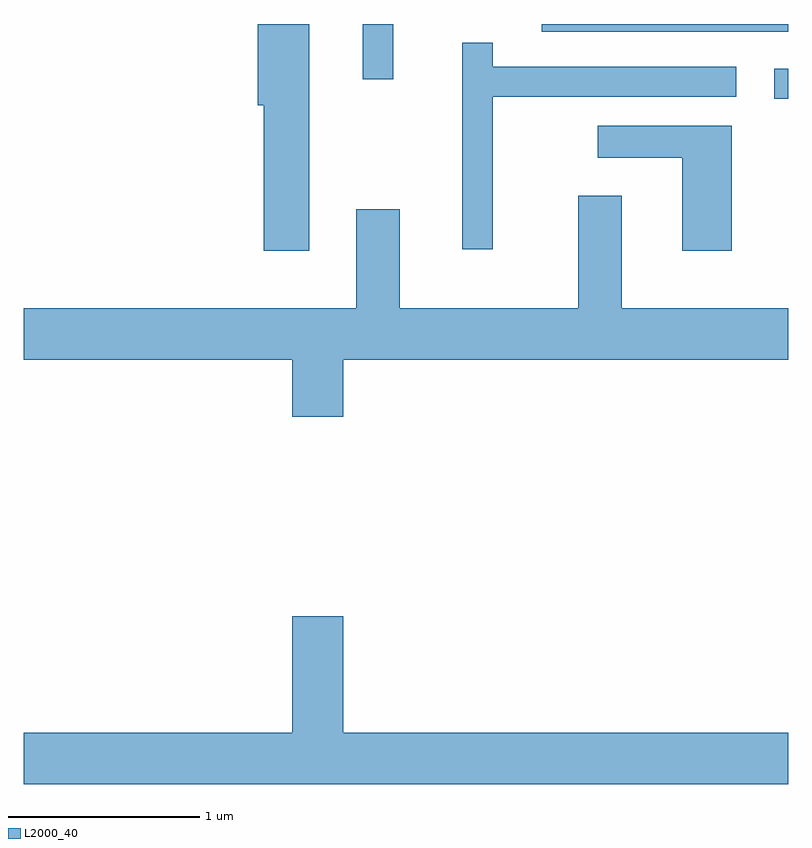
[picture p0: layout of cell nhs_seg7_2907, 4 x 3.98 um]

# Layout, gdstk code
import gdstk
lib = gdstk.Library(unit=1e-6, precision=1e-09)
def R(c, l, rs):  # rectangles x0, y0, x1, y1
    for r in rs: c.add(gdstk.rectangle(r[:2], r[2:], *l))
def P(c, l, *ps):  # polygons
    for p in ps: c.add(gdstk.Polygon(p, *l))
L2000_40 = (2000, 40)

nhs_seg7_2907 = lib.new_cell('nhs_seg7_2907')
R(nhs_seg7_2907, L2000_40, [(277.538,1757.861,277.611,1758.019), (275.386,1757.963,275.544,1758.252), (276.321,1758.211,277.611,1758.252)])
P(nhs_seg7_2907, L2000_40, [(275.104,1758.252),(274.836,1758.252),(274.836,1757.826),(274.866,1757.826),(274.866,1757.066),(275.104,1757.066)],
  [(276.064,1757.871),(277.338,1757.871),(277.338,1758.029),(276.064,1758.029),(276.064,1758.153),(275.906,1758.153),(275.906,1757.073),(276.064,1757.073)],
  [(277.314,1757.719),(276.613,1757.719),(276.613,1757.551),(277.056,1757.551),(277.056,1757.066),(277.314,1757.066)],
  [(275.284,1756.496),(277.611,1756.496),(277.611,1756.764),(276.739,1756.764),(276.739,1757.354),(276.511,1757.354),(276.511,1756.764),(275.579,1756.764),(275.579,1757.284),(275.351,1757.284),(275.351,1756.764),(273.611,1756.764),(273.611,1756.496),(275.016,1756.496),(275.016,1756.196),(275.284,1756.196)],
  [(277.611,1754.544),(275.284,1754.544),(275.284,1755.154),(275.016,1755.154),(275.016,1754.544),(273.611,1754.544),(273.611,1754.276),(277.611,1754.276)])

lib.write_gds('nhs_seg7_2907.gds')
